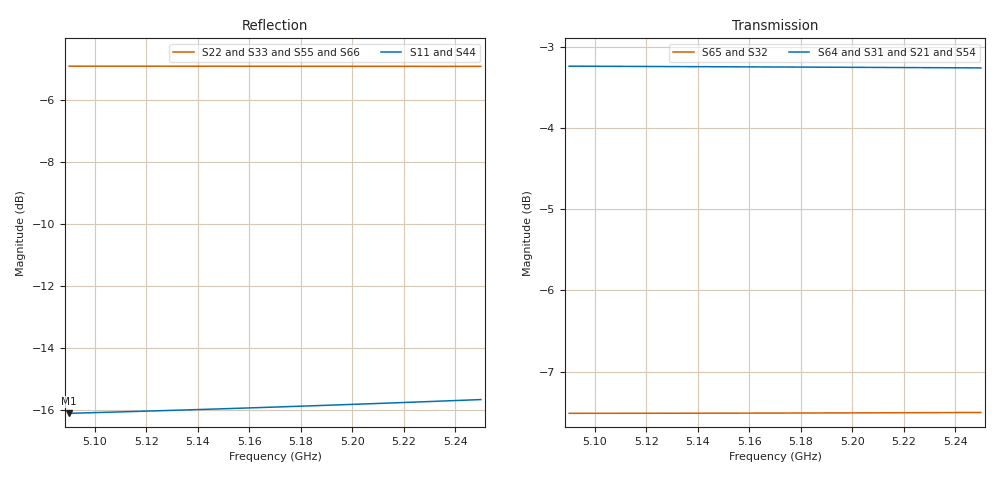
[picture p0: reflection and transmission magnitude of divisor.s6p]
! Touchstone file exported from HFSS 2024.2.0
!  File:  D:/dev/EMBRAER/P1H/R03_Estudo/ZYF255DA/compacta/1x2/Compacta_ZYF255DA_1x2.aedt
!  Generated:  10:54:25 PM Nov  6, 2026
!  Design:  Duplo_radial
!  Project:  Compacta_ZYF255DA_1x2
!  Setup:  Divisor
!  Solution:  Banda
# GHz S RI R 50.000000
! Terminal data exported
! Port[1] = A_IN
! Port[2] = A1
! Port[3] = A2
! Port[4] = B_IN
! Port[5] = B1
! Port[6] = B2
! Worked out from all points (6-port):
!   17 points, 5.09 GHz to 5.25 GHz, reference 50 ohm
!   strongest paths, dB at 5.09 GHz, 5.13 GHz, 5.17 GHz, 5.21 GHz, 5.25 GHz:
!     S64: -3.2, -3.2, -3.2, -3.3, -3.3
!     S31: -3.2, -3.2, -3.3, -3.3, -3.3
!     S21: -3.3, -3.3, -3.3, -3.3, -3.3
!     S54: -3.3, -3.3, -3.3, -3.3, -3.3
!     S65: -7.5, -7.5, -7.5, -7.5, -7.5
!     S32: -7.5, -7.5, -7.5, -7.5, -7.5
!   lowest |S11| = -16.1 dB at 5.09 GHz (marker M1), VSWR 1.37, Z = 56.3 - j15.6 ohm
!   |S11| at or under -10 dB: start of sweep to end of sweep
